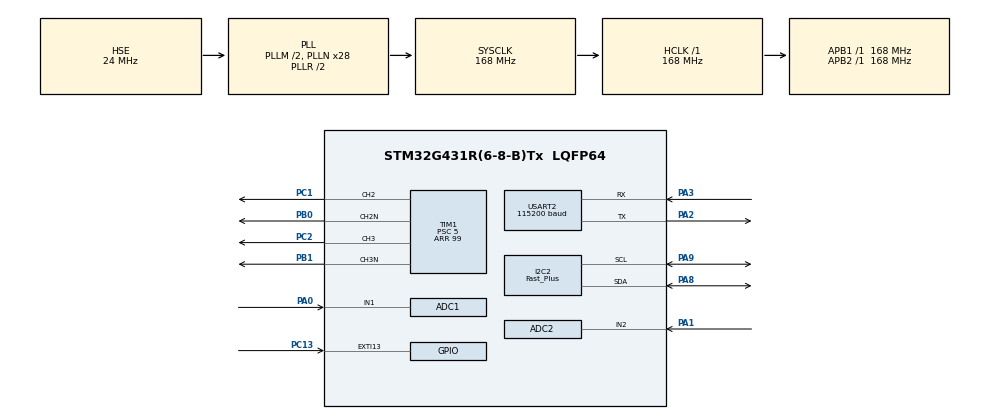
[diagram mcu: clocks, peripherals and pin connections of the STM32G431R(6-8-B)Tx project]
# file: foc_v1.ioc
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ADC1.Channel-0\#ChannelRegularConversion=ADC_CHANNEL_1
ADC1.EnableInjectedConversion=DISABLE
ADC1.ExternalTrigConv=ADC_EXTERNALTRIG_T1_TRGO
ADC1.NbrOfConversionFlag=1
ADC1.OffsetNumber-0\#ChannelRegularConversion=ADC_OFFSET_NONE
ADC1.Rank-0\#ChannelRegularConversion=1
ADC1.Rank1_Channel=ADC_CHANNEL_1
ADC1.SamplingTime-0\#ChannelRegularConversion=ADC_SAMPLETIME_6CYCLES_5
ADC1.master=1
ADC2.Channel-0\#ChannelRegularConversion=ADC_CHANNEL_2
ADC2.NbrOfConversionFlag=1
ADC2.OffsetNumber-0\#ChannelRegularConversion=ADC_OFFSET_NONE
ADC2.Rank-0\#ChannelRegularConversion=1
ADC2.SamplingTime-0\#ChannelRegularConversion=ADC_SAMPLETIME_2CYCLES_5
Dma.I2C2_RX.0.Direction=DMA_PERIPH_TO_MEMORY
Dma.I2C2_RX.0.EventEnable=DISABLE
Dma.I2C2_RX.0.Instance=DMA1_Channel1
Dma.I2C2_RX.0.MemDataAlignment=DMA_MDATAALIGN_BYTE
Dma.I2C2_RX.0.MemInc=DMA_MINC_ENABLE
Dma.I2C2_RX.0.Mode=DMA_NORMAL
Dma.I2C2_RX.0.PeriphDataAlignment=DMA_PDATAALIGN_BYTE
Dma.I2C2_RX.0.PeriphInc=DMA_PINC_DISABLE
Dma.I2C2_RX.0.Polarity=HAL_DMAMUX_REQ_GEN_RISING
Dma.I2C2_RX.0.Priority=DMA_PRIORITY_LOW
Dma.I2C2_RX.0.RequestNumber=1
Dma.I2C2_RX.0.SignalID=NONE
Dma.I2C2_RX.0.SyncEnable=DISABLE
Dma.I2C2_RX.0.SyncPolarity=HAL_DMAMUX_SYNC_NO_EVENT
Dma.I2C2_RX.0.SyncRequestNumber=1
Dma.I2C2_RX.0.SyncSignalID=NONE
Dma.Request0=I2C2_RX
I2C2.AddressingMode=I2C_ADDRESSINGMODE_7BIT
I2C2.Analog_Filter=I2C_ANALOGFILTER_ENABLE
I2C2.CustomTiming=Disabled
I2C2.DualAddressMode=I2C_DUALADDRESS_DISABLE
I2C2.GeneralCallMode=I2C_GENERALCALL_DISABLE
I2C2.I2C_Coeff_DF=0
I2C2.I2C_Fall_Time=100
I2C2.I2C_Rise_Time=100
I2C2.I2C_Speed_Mode=I2C_Fast_Plus
I2C2.NoStretchMode=I2C_NOSTRETCH_DISABLE
I2C2.OwnAddress=0
I2C2.Speed=1000
I2C2.Timing=0x10C31027
Mcu.Family=STM32G4
Mcu.Name=STM32G431R(6-8-B)Tx
Mcu.Package=LQFP64
NVIC.DMA1_Channel1_IRQn=true\:0\:0\:false\:false\:true\:false\:true\:true
NVIC.EXTI15_10_IRQn=true\:0\:0\:false\:false\:true\:true\:true\:true
NVIC.I2C2_EV_IRQn=true\:0\:0\:false\:false\:true\:true\:true\:true
NVIC.PriorityGroup=NVIC_PRIORITYGROUP_4
NVIC.TIM6_DAC_IRQn=true\:0\:0\:false\:false\:true\:true\:true\:true
NVIC.TIM7_IRQn=true\:0\:0\:false\:false\:true\:true\:true\:true
PA0.Mode=IN1-Single-Ended
PA0.Signal=ADC1_IN1
PA1.Mode=IN2-Single-Ended
PA1.Signal=ADC2_IN2
PA13.GPIO_Label=T_SWDIO
PA13.Mode=Serial_Wire
PA13.Signal=SYS_JTMS-SWDIO
PA14.GPIO_Label=T_SWCLK
PA14.Mode=Serial_Wire
PA14.Signal=SYS_JTCK-SWCLK
PA2.Mode=Asynchronous
PA2.Signal=USART2_TX
PA3.Mode=Asynchronous
PA3.Signal=USART2_RX
PA8.GPIO_Pu=GPIO_PULLUP
PA8.Mode=I2C
PA8.Signal=I2C2_SDA
PA9.GPIO_Pu=GPIO_PULLUP
PA9.Mode=I2C
PA9.Signal=I2C2_SCL
PB0.Mode=PWM Generation2 CH2 CH2N
PB0.Signal=TIM1_CH2N
PB1.Mode=PWM Generation3 CH3 CH3N
PB1.Signal=TIM1_CH3N
PC1.Signal=S_TIM1_CH2
PC13.Signal=GPXTI13
PC2.Signal=S_TIM1_CH3
PF0-OSC_IN.GPIO_Label=RCC_OSC_IN
PF0-OSC_IN.Mode=HSE-External-Oscillator
PF0-OSC_IN.Signal=RCC_OSC_IN
PF1-OSC_OUT.GPIO_Label=RCC_OSC_OUT
PF1-OSC_OUT.Mode=HSE-External-Oscillator
PF1-OSC_OUT.Signal=RCC_OSC_OUT
ProjectManager.HeapSize=0x200
ProjectManager.StackSize=0x400
ProjectManager.TargetToolchain=CMake
RCC.ADC12Freq_Value=168000000
RCC.AHBFreq_Value=168000000
RCC.APB1Freq_Value=168000000
RCC.APB1TimFreq_Value=168000000
RCC.APB2Freq_Value=168000000
RCC.APB2TimFreq_Value=168000000
RCC.CortexFreq_Value=168000000
RCC.EXTERNAL_CLOCK_VALUE=12288000
RCC.FLatency=FLASH_LATENCY_4
RCC.HCLKFreq_Value=168000000
RCC.HSE_VALUE=24000000
RCC.HSI48_VALUE=48000000
RCC.HSI_VALUE=16000000
RCC.LSE_VALUE=32768
RCC.PLLM=RCC_PLLM_DIV2
RCC.PLLN=28
RCC.PLLSourceVirtual=RCC_PLLSOURCE_HSE
RCC.PWR_Regulator_Voltage_Scale=PWR_REGULATOR_VOLTAGE_SCALE1_BOOST
RCC.SYSCLKFreq_VALUE=168000000
RCC.SYSCLKSource=RCC_SYSCLKSOURCE_PLLCLK
RCC.USBFreq_Value=168000000
RCC.VCOOutputFreq_Value=336000000
SH.S_TIM1_CH2.0=TIM1_CH2,PWM Generation2 CH2 CH2N
SH.S_TIM1_CH3.0=TIM1_CH3,PWM Generation3 CH3 CH3N
TIM1.Channel-PWM\ Generation2\ CH2\ CH2N=TIM_CHANNEL_2
TIM1.Channel-PWM\ Generation3\ CH3\ CH3N=TIM_CHANNEL_3
TIM1.CounterMode=TIM_COUNTERMODE_CENTERALIGNED1
TIM1.PeriodNoDither=99
TIM1.Prescaler=5
TIM1.TIM_MasterOutputTrigger=TIM_TRGO_UPDATE
TIM1.TIM_MasterSlaveMode=TIM_MASTERSLAVEMODE_DISABLE
TIM6.PeriodNoDither=4999
TIM6.Prescaler=167
TIM7.PeriodNoDither=49
TIM7.Prescaler=167
USART2.AutoBaudRateEnableParam=UART_ADVFEATURE_AUTOBAUDRATE_DISABLE
USART2.BaudRate=115200
USART2.ClockPrescaler=PRESCALER_DIV1
USART2.DMADisableonRxErrorParam=ADVFEATURE_DMA_ENABLEONRXERROR
USART2.DataInvertParam=ADVFEATURE_DATAINV_DISABLE
USART2.FIFOMode=FIFOMODE_DISABLE
USART2.MSBFirstParam=ADVFEATURE_MSBFIRST_DISABLE
USART2.Mode=MODE_TX_RX
USART2.OneBitSampling=UART_ONE_BIT_SAMPLE_DISABLE
USART2.OverSampling=UART_OVERSAMPLING_16
USART2.OverrunDisableParam=ADVFEATURE_OVERRUN_ENABLE
USART2.Parity=PARITY_NONE
USART2.RXFIFOThreshold=RXFIFO_THRESHOLD_1EIGHTHFULL
USART2.RxPinLevelInvertParam=ADVFEATURE_RXINV_DISABLE
USART2.StopBits=STOPBITS_1
USART2.SwapParam=ADVFEATURE_SWAP_DISABLE
USART2.TXFIFOThreshold=TXFIFO_THRESHOLD_1EIGHTHFULL
USART2.TxPinLevelInvertParam=ADVFEATURE_TXINV_DISABLE
USART2.VirtualMode-Asynchronous=VM_ASYNC
USART2.WordLength=WORDLENGTH_8B
VP_CORDIC_VS_CORDIC.Mode=CORDIC_Activate
VP_SYS_VS_DBSignals.Mode=DisableDeadBatterySignals
VP_TIM1_VS_ClockSourceINT.Mode=Internal
VP_TIM6_VS_ClockSourceINT.Mode=Enable_Timer
VP_TIM7_VS_ClockSourceINT.Mode=Enable_Timer
board=NUCLEO-G431RB

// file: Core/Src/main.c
/* USER CODE BEGIN Header */
/**
  ******************************************************************************
  * @file           : main.c
  * @brief          : Main program body
  ******************************************************************************
  * @attention
  *
  * Copyright (c) 2026 STMicroelectronics.
  * All rights reserved.
  *
  * This software is licensed under terms that can be found in the LICENSE file
  * in the root directory of this software component.
  * If no LICENSE file comes with this software, it is provided AS-IS.
  *
  ******************************************************************************
  */
/* USER CODE END Header */
#include "main.h"

/* USER CODE BEGIN Includes */
#include "as5600.h"
#include "kalman.h"
#include "stm32g4xx_hal_exti.h"
#include "stm32g4xx_hal_gpio.h"
#include "stm32g4xx_hal_tim.h"
#include <stdint.h>
#include "stm32-cordic.h"
/* USER CODE END Includes */

ADC_HandleTypeDef hadc1;
ADC_HandleTypeDef hadc2;

CORDIC_HandleTypeDef hcordic;

I2C_HandleTypeDef hi2c2;
DMA_HandleTypeDef hdma_i2c2_rx;

TIM_HandleTypeDef htim1;
TIM_HandleTypeDef htim6;
TIM_HandleTypeDef htim7;

UART_HandleTypeDef huart2;

/* USER CODE BEGIN PV */
AS5600_TypeDef *myAS5600;

volatile uint8_t timer_triggered = 0;
volatile uint8_t step_triggered = 0;
volatile uint8_t motor_enable = 0;
volatile uint8_t dma_ready = 0;

KalmanStruct KF;
KalmanStruct *kf;

uint16_t pwm_level[4][2] = {
  {75, 50},
  {50, 75},
  {25, 50},
  {50, 25}
};
/* USER CODE END PV */

void SystemClock_Config(void);
static void MX_GPIO_Init(void);
static void MX_DMA_Init(void);
static void MX_I2C2_Init(void);
static void MX_USART2_UART_Init(void);
static void MX_CORDIC_Init(void);
static void MX_TIM7_Init(void);
static void MX_TIM6_Init(void);
static void MX_TIM1_Init(void);
static void MX_ADC1_Init(void);
static void MX_ADC2_Init(void);

int main(void)
{

  /* MCU Configuration--------------------------------------------------------*/

  /* Reset of all peripherals, Initializes the Flash interface and the Systick. */
  HAL_Init();

  /* Configure the system clock */
  SystemClock_Config();

  /* Initialize all configured peripherals */
  MX_GPIO_Init();
  MX_DMA_Init();
  MX_I2C2_Init();
  MX_USART2_UART_Init();
  MX_CORDIC_Init();
  MX_TIM7_Init();
  MX_TIM6_Init();
  MX_TIM1_Init();
  MX_ADC1_Init();
  MX_ADC2_Init();
  /* USER CODE BEGIN 2 */
  // AS5600 setup
  myAS5600 = AS5600_New();
  myAS5600->i2cAddr = (0x36 << 1);  // 7-bit address shifted for HAL
  myAS5600->i2cHandle = &hi2c2;
  myAS5600->SlowFilter = AS5600_SLOW_FILTER_2X;
  myAS5600->FastFilterThreshold = AS5600_FAST_FILTER_6LSB;
  AS5600_Init(myAS5600);

  // Kalman filter setup
  kf = &KF;
  kf->dt = 50e-6f;
  kf->x[0] = 0.f;
  kf->x[1] = 0.f;
  kf->P[0][0] = 10.f;
  kf->P[0][1] = 0.f;
  kf->P[1][0] = 0.f;
  kf->P[1][1] = 10.f;
  kf->Q[0][0] = 0.01f;
  kf->Q[0][1] = 0.f;
  kf->Q[1][0] = 0.f;
  kf->Q[1][1] = 1e5f;
  kf->R = 0.24f;

  // timer setup
  HAL_TIM_Base_Start_IT(&htim6);
  HAL_TIM_Base_Start_IT(&htim7);
  /* USER CODE END 2 */

  /* Infinite loop */
  /* USER CODE BEGIN WHILE */
  int level_index = 0;
  while (1)
  {
    /* USER CODE END WHILE */

    /* USER CODE BEGIN 3 */
    if(step_triggered) {
      if(level_index >= 3) {
        level_index = 0;
      } else {
        level_index++;
      }

      step_triggered = 0;   // clear flag
    }

    if(timer_triggered) {
      if(motor_enable) {
        HAL_TIM_PWM_Start(&htim1, TIM_CHANNEL_2);
        HAL_TIMEx_PWMN_Start(&htim1, TIM_CHANNEL_2);
        HAL_TIM_PWM_Start(&htim1, TIM_CHANNEL_3);
        HAL_TIMEx_PWMN_Start(&htim1, TIM_CHANNEL_3);

        __HAL_TIM_SET_COMPARE(&htim1, TIM_CHANNEL_2, pwm_level[level_index][0]);  // A
        __HAL_TIM_SET_COMPARE(&htim1, TIM_CHANNEL_3, pwm_level[level_index][1]);  // B
      } else {
        HAL_TIM_PWM_Stop(&htim1, TIM_CHANNEL_2);
        HAL_TIMEx_PWMN_Stop(&htim1, TIM_CHANNEL_2);
        HAL_TIM_PWM_Stop(&htim1, TIM_CHANNEL_3);
        HAL_TIMEx_PWMN_Stop(&htim1, TIM_CHANNEL_3);
      }

      timer_triggered = 0;    // clear flag
    }
  }
  /* USER CODE END 3 */
}

void SystemClock_Config(void)
{
  RCC_OscInitTypeDef RCC_OscInitStruct = {0};
  RCC_ClkInitTypeDef RCC_ClkInitStruct = {0};

  /** Configure the main internal regulator output voltage
  */
  HAL_PWREx_ControlVoltageScaling(PWR_REGULATOR_VOLTAGE_SCALE1_BOOST);

  /** Initializes the RCC Oscillators according to the specified parameters
  * in the RCC_OscInitTypeDef structure.
  */
  RCC_OscInitStruct.OscillatorType = RCC_OSCILLATORTYPE_HSE;
  RCC_OscInitStruct.HSEState = RCC_HSE_ON;
  RCC_OscInitStruct.PLL.PLLState = RCC_PLL_ON;
  RCC_OscInitStruct.PLL.PLLSource = RCC_PLLSOURCE_HSE;
  RCC_OscInitStruct.PLL.PLLM = RCC_PLLM_DIV2;
  RCC_OscInitStruct.PLL.PLLN = 28;
  RCC_OscInitStruct.PLL.PLLP = RCC_PLLP_DIV2;
  RCC_OscInitStruct.PLL.PLLQ = RCC_PLLQ_DIV2;
  RCC_OscInitStruct.PLL.PLLR = RCC_PLLR_DIV2;
  if (HAL_RCC_OscConfig(&RCC_OscInitStruct) != HAL_OK)
  {
    Error_Handler();
  }

  /** Initializes the CPU, AHB and APB buses clocks
  */
  RCC_ClkInitStruct.ClockType = RCC_CLOCKTYPE_HCLK|RCC_CLOCKTYPE_SYSCLK
                              |RCC_CLOCKTYPE_PCLK1|RCC_CLOCKTYPE_PCLK2;
  RCC_ClkInitStruct.SYSCLKSource = RCC_SYSCLKSOURCE_PLLCLK;
  RCC_ClkInitStruct.AHBCLKDivider = RCC_SYSCLK_DIV1;
  RCC_ClkInitStruct.APB1CLKDivider = RCC_HCLK_DIV1;
  RCC_ClkInitStruct.APB2CLKDivider = RCC_HCLK_DIV1;

  if (HAL_RCC_ClockConfig(&RCC_ClkInitStruct, FLASH_LATENCY_4) != HAL_OK)
  {
    Error_Handler();
  }
}

static void MX_ADC1_Init(void)
{

  ADC_MultiModeTypeDef multimode = {0};
  ADC_ChannelConfTypeDef sConfig = {0};

  /** Common config
  */
  hadc1.Instance = ADC1;
  hadc1.Init.ClockPrescaler = ADC_CLOCK_SYNC_PCLK_DIV4;
  hadc1.Init.Resolution = ADC_RESOLUTION_12B;
  hadc1.Init.DataAlign = ADC_DATAALIGN_RIGHT;
  hadc1.Init.GainCompensation = 0;
  hadc1.Init.ScanConvMode = ADC_SCAN_DISABLE;
  hadc1.Init.EOCSelection = ADC_EOC_SINGLE_CONV;
  hadc1.Init.LowPowerAutoWait = DISABLE;
  hadc1.Init.ContinuousConvMode = DISABLE;
  hadc1.Init.NbrOfConversion = 1;
  hadc1.Init.DiscontinuousConvMode = DISABLE;
  hadc1.Init.ExternalTrigConv = ADC_EXTERNALTRIG_T1_TRGO;
  hadc1.Init.ExternalTrigConvEdge = ADC_EXTERNALTRIGCONVEDGE_RISING;
  hadc1.Init.DMAContinuousRequests = DISABLE;
  hadc1.Init.Overrun = ADC_OVR_DATA_PRESERVED;
  hadc1.Init.OversamplingMode = DISABLE;
  if (HAL_ADC_Init(&hadc1) != HAL_OK)
  {
    Error_Handler();
  }

  /** Configure the ADC multi-mode
  */
  multimode.Mode = ADC_MODE_INDEPENDENT;
  if (HAL_ADCEx_MultiModeConfigChannel(&hadc1, &multimode) != HAL_OK)
  {
    Error_Handler();
  }

  /** Configure Regular Channel
  */
  sConfig.Channel = ADC_CHANNEL_1;
  sConfig.Rank = ADC_REGULAR_RANK_1;
  sConfig.SamplingTime = ADC_SAMPLETIME_6CYCLES_5;
  sConfig.SingleDiff = ADC_SINGLE_ENDED;
  sConfig.OffsetNumber = ADC_OFFSET_NONE;
  sConfig.Offset = 0;
  if (HAL_ADC_ConfigChannel(&hadc1, &sConfig) != HAL_OK)
  {
    Error_Handler();
  }

}

static void MX_ADC2_Init(void)
{

  ADC_ChannelConfTypeDef sConfig = {0};

  /** Common config
  */
  hadc2.Instance = ADC2;
  hadc2.Init.ClockPrescaler = ADC_CLOCK_SYNC_PCLK_DIV4;
  hadc2.Init.Resolution = ADC_RESOLUTION_12B;
  hadc2.Init.DataAlign = ADC_DATAALIGN_RIGHT;
  hadc2.Init.GainCompensation = 0;
  hadc2.Init.ScanConvMode = ADC_SCAN_DISABLE;
  hadc2.Init.EOCSelection = ADC_EOC_SINGLE_CONV;
  hadc2.Init.LowPowerAutoWait = DISABLE;
  hadc2.Init.ContinuousConvMode = DISABLE;
  hadc2.Init.NbrOfConversion = 1;
  hadc2.Init.DiscontinuousConvMode = DISABLE;
  hadc2.Init.ExternalTrigConv = ADC_SOFTWARE_START;
  hadc2.Init.ExternalTrigConvEdge = ADC_EXTERNALTRIGCONVEDGE_NONE;
  hadc2.Init.DMAContinuousRequests = DISABLE;
  hadc2.Init.Overrun = ADC_OVR_DATA_PRESERVED;
  hadc2.Init.OversamplingMode = DISABLE;
  if (HAL_ADC_Init(&hadc2) != HAL_OK)
  {
    Error_Handler();
  }

  /** Configure Regular Channel
  */
  sConfig.Channel = ADC_CHANNEL_2;
  sConfig.Rank = ADC_REGULAR_RANK_1;
  sConfig.SamplingTime = ADC_SAMPLETIME_2CYCLES_5;
  sConfig.SingleDiff = ADC_SINGLE_ENDED;
  sConfig.OffsetNumber = ADC_OFFSET_NONE;
  sConfig.Offset = 0;
  if (HAL_ADC_ConfigChannel(&hadc2, &sConfig) != HAL_OK)
  {
    Error_Handler();
  }

}

static void MX_CORDIC_Init(void)
{

  hcordic.Instance = CORDIC;
  if (HAL_CORDIC_Init(&hcordic) != HAL_OK)
  {
    Error_Handler();
  }

}

static void MX_I2C2_Init(void)
{

  hi2c2.Instance = I2C2;
  hi2c2.Init.Timing = 0x10C31027;
  hi2c2.Init.OwnAddress1 = 0;
  hi2c2.Init.AddressingMode = I2C_ADDRESSINGMODE_7BIT;
  hi2c2.Init.DualAddressMode = I2C_DUALADDRESS_DISABLE;
  hi2c2.Init.OwnAddress2 = 0;
  hi2c2.Init.OwnAddress2Masks = I2C_OA2_NOMASK;
  hi2c2.Init.GeneralCallMode = I2C_GENERALCALL_DISABLE;
  hi2c2.Init.NoStretchMode = I2C_NOSTRETCH_DISABLE;
  if (HAL_I2C_Init(&hi2c2) != HAL_OK)
  {
    Error_Handler();
  }

  /** Configure Analogue filter
  */
  if (HAL_I2CEx_ConfigAnalogFilter(&hi2c2, I2C_ANALOGFILTER_ENABLE) != HAL_OK)
  {
    Error_Handler();
  }

  /** Configure Digital filter
  */
  if (HAL_I2CEx_ConfigDigitalFilter(&hi2c2, 0) != HAL_OK)
  {
    Error_Handler();
  }

  /** I2C Fast mode Plus enable
  */
  HAL_I2CEx_EnableFastModePlus(I2C_FASTMODEPLUS_I2C2);

}

static void MX_TIM1_Init(void)
{

  TIM_ClockConfigTypeDef sClockSourceConfig = {0};
  TIM_MasterConfigTypeDef sMasterConfig = {0};
  TIM_OC_InitTypeDef sConfigOC = {0};
  TIM_BreakDeadTimeConfigTypeDef sBreakDeadTimeConfig = {0};

  htim1.Instance = TIM1;
  htim1.Init.Prescaler = 5;
  htim1.Init.CounterMode = TIM_COUNTERMODE_CENTERALIGNED1;
  htim1.Init.Period = 99;
  htim1.Init.ClockDivision = TIM_CLOCKDIVISION_DIV1;
  htim1.Init.RepetitionCounter = 0;
  htim1.Init.AutoReloadPreload = TIM_AUTORELOAD_PRELOAD_DISABLE;
  if (HAL_TIM_Base_Init(&htim1) != HAL_OK)
  {
    Error_Handler();
  }
  sClockSourceConfig.ClockSource = TIM_CLOCKSOURCE_INTERNAL;
  if (HAL_TIM_ConfigClockSource(&htim1, &sClockSourceConfig) != HAL_OK)
  {
    Error_Handler();
  }
  if (HAL_TIM_PWM_Init(&htim1) != HAL_OK)
  {
    Error_Handler();
  }
  sMasterConfig.MasterOutputTrigger = TIM_TRGO_UPDATE;
  sMasterConfig.MasterOutputTrigger2 = TIM_TRGO2_RESET;
  sMasterConfig.MasterSlaveMode = TIM_MASTERSLAVEMODE_DISABLE;
  if (HAL_TIMEx_MasterConfigSynchronization(&htim1, &sMasterConfig) != HAL_OK)
  {
    Error_Handler();
  }
  sConfigOC.OCMode = TIM_OCMODE_PWM1;
  sConfigOC.Pulse = 0;
  sConfigOC.OCPolarity = TIM_OCPOLARITY_HIGH;
  sConfigOC.OCNPolarity = TIM_OCNPOLARITY_HIGH;
  sConfigOC.OCFastMode = TIM_OCFAST_DISABLE;
  sConfigOC.OCIdleState = TIM_OCIDLESTATE_RESET;
  sConfigOC.OCNIdleState = TIM_OCNIDLESTATE_RESET;
  if (HAL_TIM_PWM_ConfigChannel(&htim1, &sConfigOC, TIM_CHANNEL_2) != HAL_OK)
  {
    Error_Handler();
  }
  if (HAL_TIM_PWM_ConfigChannel(&htim1, &sConfigOC, TIM_CHANNEL_3) != HAL_OK)
  {
    Error_Handler();
  }
  sBreakDeadTimeConfig.OffStateRunMode = TIM_OSSR_DISABLE;
  sBreakDeadTimeConfig.OffStateIDLEMode = TIM_OSSI_DISABLE;
  sBreakDeadTimeConfig.LockLevel = TIM_LOCKLEVEL_OFF;
  sBreakDeadTimeConfig.DeadTime = 0;
  sBreakDeadTimeConfig.BreakState = TIM_BREAK_DISABLE;
  sBreakDeadTimeConfig.BreakPolarity = TIM_BREAKPOLARITY_HIGH;
  sBreakDeadTimeConfig.BreakFilter = 0;
  sBreakDeadTimeConfig.BreakAFMode = TIM_BREAK_AFMODE_INPUT;
  sBreakDeadTimeConfig.Break2State = TIM_BREAK2_DISABLE;
  sBreakDeadTimeConfig.Break2Polarity = TIM_BREAK2POLARITY_HIGH;
  sBreakDeadTimeConfig.Break2Filter = 0;
  sBreakDeadTimeConfig.Break2AFMode = TIM_BREAK_AFMODE_INPUT;
  sBreakDeadTimeConfig.AutomaticOutput = TIM_AUTOMATICOUTPUT_DISABLE;
  if (HAL_TIMEx_ConfigBreakDeadTime(&htim1, &sBreakDeadTimeConfig) != HAL_OK)
  {
    Error_Handler();
  }
  HAL_TIM_MspPostInit(&htim1);

}

static void MX_TIM6_Init(void)
{

  TIM_MasterConfigTypeDef sMasterConfig = {0};

  htim6.Instance = TIM6;
  htim6.Init.Prescaler = 167;
  htim6.Init.CounterMode = TIM_COUNTERMODE_UP;
  htim6.Init.Period = 4999;
  htim6.Init.AutoReloadPreload = TIM_AUTORELOAD_PRELOAD_DISABLE;
  if (HAL_TIM_Base_Init(&htim6) != HAL_OK)
  {
    Error_Handler();
  }
  sMasterConfig.MasterOutputTrigger = TIM_TRGO_RESET;
  sMasterConfig.MasterSlaveMode = TIM_MASTERSLAVEMODE_DISABLE;
  if (HAL_TIMEx_MasterConfigSynchronization(&htim6, &sMasterConfig) != HAL_OK)
  {
    Error_Handler();
  }

}

static void MX_TIM7_Init(void)
{

  TIM_MasterConfigTypeDef sMasterConfig = {0};

  htim7.Instance = TIM7;
  htim7.Init.Prescaler = 167;
  htim7.Init.CounterMode = TIM_COUNTERMODE_UP;
  htim7.Init.Period = 49;
  htim7.Init.AutoReloadPreload = TIM_AUTORELOAD_PRELOAD_DISABLE;
  if (HAL_TIM_Base_Init(&htim7) != HAL_OK)
  {
    Error_Handler();
  }
  sMasterConfig.MasterOutputTrigger = TIM_TRGO_RESET;
  sMasterConfig.MasterSlaveMode = TIM_MASTERSLAVEMODE_DISABLE;
  if (HAL_TIMEx_MasterConfigSynchronization(&htim7, &sMasterConfig) != HAL_OK)
  {
    Error_Handler();
  }

}

static void MX_USART2_UART_Init(void)
{

  huart2.Instance = USART2;
  huart2.Init.BaudRate = 115200;
  huart2.Init.WordLength = UART_WORDLENGTH_8B;
  huart2.Init.StopBits = UART_STOPBITS_1;
  huart2.Init.Parity = UART_PARITY_NONE;
  huart2.Init.Mode = UART_MODE_TX_RX;
  huart2.Init.HwFlowCtl = UART_HWCONTROL_NONE;
  huart2.Init.OverSampling = UART_OVERSAMPLING_16;
  huart2.Init.OneBitSampling = UART_ONE_BIT_SAMPLE_DISABLE;
  huart2.Init.ClockPrescaler = UART_PRESCALER_DIV1;
  huart2.AdvancedInit.AdvFeatureInit = UART_ADVFEATURE_NO_INIT;
  if (HAL_UART_Init(&huart2) != HAL_OK)
  {
    Error_Handler();
  }
  if (HAL_UARTEx_SetTxFifoThreshold(&huart2, UART_TXFIFO_THRESHOLD_1_8) != HAL_OK)
  {
    Error_Handler();
  }
  if (HAL_UARTEx_SetRxFifoThreshold(&huart2, UART_RXFIFO_THRESHOLD_1_8) != HAL_OK)
  {
    Error_Handler();
  }
  if (HAL_UARTEx_DisableFifoMode(&huart2) != HAL_OK)
  {
    Error_Handler();
  }

}

static void MX_DMA_Init(void)
{

  /* DMA controller clock enable */
  __HAL_RCC_DMAMUX1_CLK_ENABLE();
  __HAL_RCC_DMA1_CLK_ENABLE();

  /* DMA interrupt init */
  /* DMA1_Channel1_IRQn interrupt configuration */
  HAL_NVIC_SetPriority(DMA1_Channel1_IRQn, 0, 0);
  HAL_NVIC_EnableIRQ(DMA1_Channel1_IRQn);

}

static void MX_GPIO_Init(void)
{
  GPIO_InitTypeDef GPIO_InitStruct = {0};

  /* GPIO Ports Clock Enable */
  __HAL_RCC_GPIOC_CLK_ENABLE();
  __HAL_RCC_GPIOF_CLK_ENABLE();
  __HAL_RCC_GPIOA_CLK_ENABLE();
  __HAL_RCC_GPIOB_CLK_ENABLE();

  /*Configure GPIO pin : PC13 */
  GPIO_InitStruct.Pin = GPIO_PIN_13;
  GPIO_InitStruct.Mode = GPIO_MODE_IT_RISING;
  GPIO_InitStruct.Pull = GPIO_NOPULL;
  HAL_GPIO_Init(GPIOC, &GPIO_InitStruct);

  /* EXTI interrupt init*/
  HAL_NVIC_SetPriority(EXTI15_10_IRQn, 0, 0);
  HAL_NVIC_EnableIRQ(EXTI15_10_IRQn);

}

/* USER CODE BEGIN 4 */
void HAL_TIM_PeriodElapsedCallback(TIM_HandleTypeDef *htim) {
  if(htim == &htim7) {
    timer_triggered = 1;
  }

  if (htim == &htim6) {
    step_triggered = 1;
  }
}

void HAL_GPIO_EXTI_Callback(uint16_t GPIO_Pin) {
  if(GPIO_Pin == GPIO_PIN_13) {
    motor_enable = !motor_enable;
  }
}
/* USER CODE END 4 */

void Error_Handler(void)
{
  __disable_irq();
  while (1)
  {
  }
}
